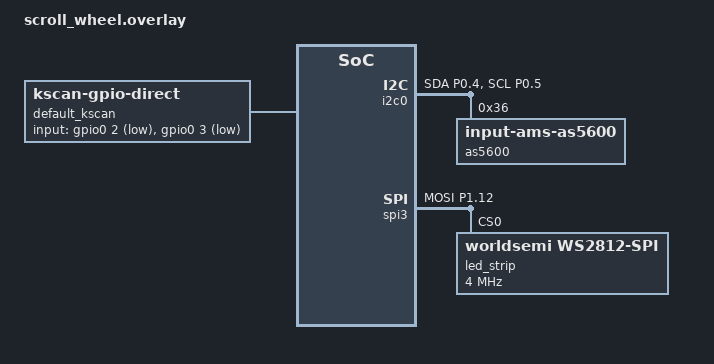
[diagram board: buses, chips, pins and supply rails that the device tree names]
#include <dt-bindings/gpio/gpio.h>
#include <dt-bindings/led/led.h>
#include <dt-bindings/pinctrl/nrf-pinctrl.h>
#include <dt-bindings/zmk/matrix_transform.h>
#include <physical_layouts.dtsi>

/*
 * 引脚(XIAO/Super52840 焊盘):
 *   I2C  SDA=P0.04(D4)  SCL=P0.05(D5)  -> AS5600(滚动)
 *   SPI3 MOSI=P1.12(D7)                 -> WS2812B DIN
 *   按键 P0.02(D0)=切层键  P0.03(D1)=蓝牙键(都接 GND)
 *   复位 = 硬件 RST↔GND
 */

&pinctrl {
    as5600_i2c_default: as5600_i2c_default {
        group1 { psels = <NRF_PSEL(TWIM_SDA, 0, 4)>, <NRF_PSEL(TWIM_SCL, 0, 5)>; };
    };
    as5600_i2c_sleep: as5600_i2c_sleep {
        group1 { psels = <NRF_PSEL(TWIM_SDA, 0, 4)>, <NRF_PSEL(TWIM_SCL, 0, 5)>; low-power-enable; };
    };
    ws2812_spi_default: ws2812_spi_default {
        group1 { psels = <NRF_PSEL(SPIM_MOSI, 1, 12)>; };
    };
    ws2812_spi_sleep: ws2812_spi_sleep {
        group1 { psels = <NRF_PSEL(SPIM_MOSI, 1, 12)>; low-power-enable; };
    };
};

&i2c0 {
    compatible = "nordic,nrf-twi";
    pinctrl-0 = <&as5600_i2c_default>;
    pinctrl-1 = <&as5600_i2c_sleep>;
    pinctrl-names = "default", "sleep";
    status = "okay";

    as5600: as5600@36 {
        compatible = "zmk,input-ams-as5600";
        reg = <0x36>;
        status = "okay";
    };
};

&spi3 {
    compatible = "nordic,nrf-spim";
    pinctrl-0 = <&ws2812_spi_default>;
    pinctrl-1 = <&ws2812_spi_sleep>;
    pinctrl-names = "default", "sleep";
    status = "okay";

    led_strip: ws2812@0 {
        compatible = "worldsemi,ws2812-spi";
        reg = <0>;
        spi-max-frequency = <4000000>;
        chain-length = <1>;
        spi-one-frame = <0x70>;
        spi-zero-frame = <0x40>;
        color-mapping = <LED_COLOR_ID_GREEN LED_COLOR_ID_RED LED_COLOR_ID_BLUE>;
    };
};

/ {
    chosen {
        zmk,kscan = &default_kscan;
        zmk,physical-layout = &physical_layout0;
        zmk,underglow = &led_strip;
        /* 注意:用 Studio 时不要再设 zmk,matrix-transform,交给 physical-layout */
    };

    default_kscan: kscan {
        compatible = "zmk,kscan-gpio-direct";
        label = "default_kscan";
        input-gpios =
            <&gpio0 2 (GPIO_ACTIVE_LOW | GPIO_PULL_UP)>,   /* key0 = 切层键 */
            <&gpio0 3 (GPIO_ACTIVE_LOW | GPIO_PULL_UP)>;   /* key1 = 蓝牙键 */
    };

    /* ZMK Studio 需要的矩阵变换 + 物理布局(2 个键) */
    default_transform: keymap_transform_0 {
        compatible = "zmk,matrix-transform";
        columns = <2>;
        rows = <1>;
        map = <RC(0,0) RC(0,1)>;
    };

    physical_layout0: physical_layout_0 {
        compatible = "zmk,physical-layout";
        display-name = "Knob Macropad";
        transform = <&default_transform>;
        keys
            = <&key_physical_attrs 100 100    0   0 0 0 0>
            , <&key_physical_attrs 100 100  100   0 0 0 0>
            ;
    };
    /* AS5600 的监听器 + 分层输入处理器在 keymap 文件里 */
};
